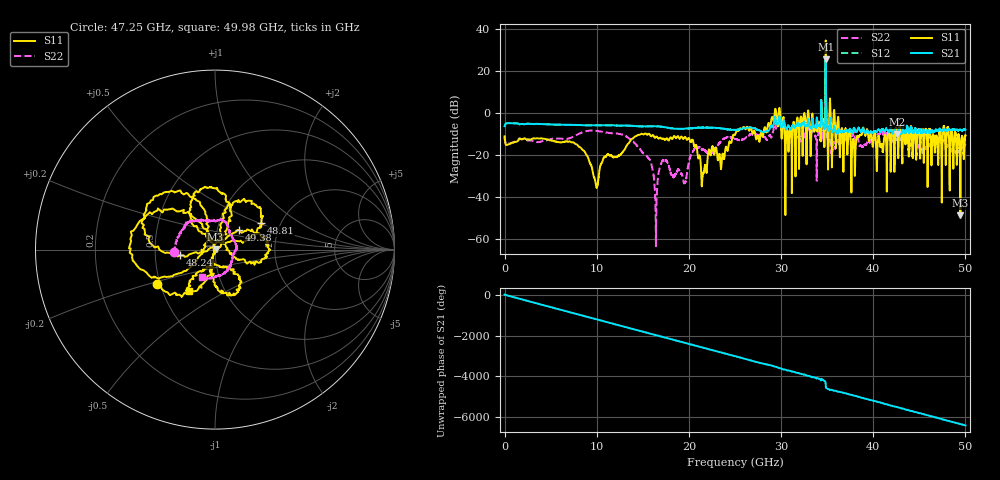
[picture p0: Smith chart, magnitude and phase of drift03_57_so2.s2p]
!Created with skrf (http://scikit-rf.org).
# Hz S RI R 50.0
!freq ReS11 ImS11 ReS21 ImS21 ReS12 ImS12 ReS22 ImS22
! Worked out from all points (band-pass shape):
!   10001 points, 300 kHz to 50 GHz, reference 50 ohm
!   highest |S21| = 25.40 dB at 34.85 GHz (marker M1); lowest = -10.4 dB at 42.55 GHz (marker M2)
!   |S21| within 3 dB of the highest: 34.8431 GHz to 34.84615 GHz (3.045 MHz wide, 0.00874 % of centre)
!   lowest |S11| = -49.0 dB at 49.46 GHz (marker M3), VSWR 1.01, Z = 50.3 + j0.104 ohm
!   |S11| at or under -10 dB: start of sweep to 15.23 GHz; 15.32 GHz to 25.05 GHz (9.735 GHz wide, 48.2 % of centre); 40.22 GHz to 41.61 GHz (1.394 GHz wide, 3.41 % of centre) (the widest 3 of 53)
!   |S22| runs from -63.6 to 16.3 dB; largest |S21 - S12| = 2.7
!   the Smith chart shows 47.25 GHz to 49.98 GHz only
!   S11 on the Smith chart (normalised r, x): 47.25 GHz: 0.48, -0.22; 48.24 GHz: 0.67, -0.04; 48.81 GHz: 1.58, +0.51; 49.38 GHz: 1.27, +0.29; 49.98 GHz: 0.68, -0.33
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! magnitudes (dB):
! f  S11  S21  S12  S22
! 300 kHz  -11.4  -6.5  -6.5  -11.3
! 8.335 GHz  -17.1  -6.0  -6.0  -9.6
! 9.955 GHz  -35.7  -6.1  -6.1  -8.7
! 11 GHz  -20.9  -6.0  -6.0  -9.5
! 16.67 GHz  -12.4  -6.6  -6.5  -29.9
! 17.34 GHz  -12.7  -6.9  -6.9  -22.9
! 19.55 GHz  -11.6  -7.7  -7.7  -33.2
! 20.22 GHz  -13.9  -7.5  -7.5  -20.4
! 21.55 GHz  -28.8  -7.2  -7.2  -17.8
! 25 GHz  -10.6  -8.2  -8.2  -12.6
! 33.34 GHz  -3.8  -6.8  -6.7  -9.3
! 34.85 GHz  34.3  25.4  25.2  16.3
! 37.83 GHz  -12.7  -8.3  -8.4  -9.8
! 41.67 GHz  -9.2  -9.4  -9.3  -11.5
! 42.55 GHz  -8.4  -10.4  -10.4  -13.3
! 47.25 GHz  -8.5  -7.7  -7.7  -12.8
! 48.24 GHz  -14.1  -8.1  -8.0  -15.6
! 48.81 GHz  -10.6  -8.2  -8.3  -18.3
! 49.38 GHz  -15.2  -8.3  -8.2  -17.9
! 49.46 GHz  -49.0  -8.2  -8.2  -17.7
! 49.98 GHz  -11.3  -8.2  -8.2  -15.3
! 50 GHz  -10.8  -8.2  -8.2  -15.5
